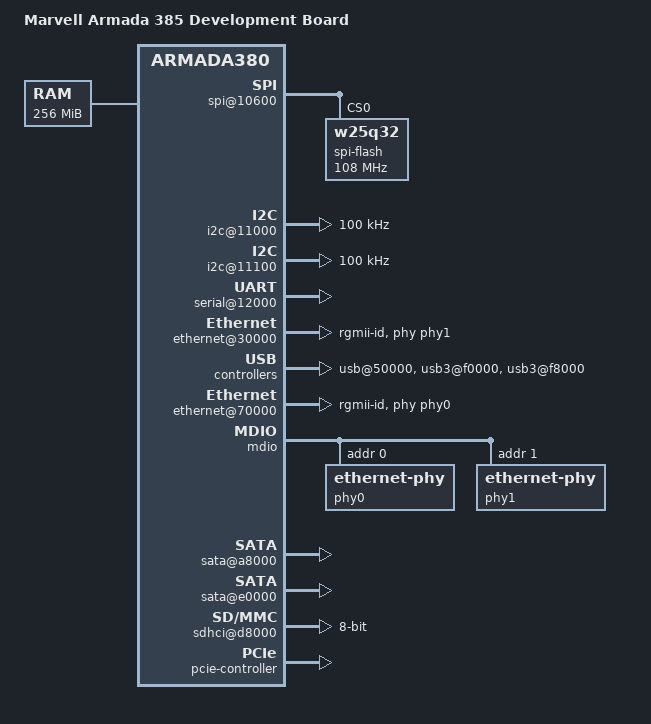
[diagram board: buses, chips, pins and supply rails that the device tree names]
/*
 * Device Tree file for Marvell Armada 385 evaluation board
 * (DB-88F6820)
 *
 *  Copyright (C) 2014 Marvell
 *
 * Thomas Petazzoni <thomas.petazzoni@free-electrons.com>
 *
 * This file is licensed under the terms of the GNU General Public
 * License version 2.  This program is licensed "as is" without any
 * warranty of any kind, whether express or implied.
 */

/dts-v1/;
#include "armada-385.dtsi"

/ {
	model = "Marvell Armada 385 Development Board";
	compatible = "marvell,a385-db", "marvell,armada385", "marvell,armada380";

	chosen {
		bootargs = "console=ttyS0,115200 earlyprintk";
	};

	memory {
		device_type = "memory";
		reg = <0x00000000 0x10000000>; /* 256 MB */
	};

	soc {
		ranges = <MBUS_ID(0xf0, 0x01) 0 0xf1000000 0x100000
			  MBUS_ID(0x01, 0x1d) 0 0xfff00000 0x100000>;

		internal-regs {
			spi@10600 {
				status = "okay";

				spi-flash@0 {
					#address-cells = <1>;
					#size-cells = <1>;
					compatible = "w25q32";
					reg = <0>; /* Chip select 0 */
					spi-max-frequency = <108000000>;
				};
			};

			i2c@11000 {
				status = "okay";
				clock-frequency = <100000>;
			};

			i2c@11100 {
				status = "okay";
				clock-frequency = <100000>;
			};

			serial@12000 {
				status = "okay";
			};

			ethernet@30000 {
				status = "okay";
				phy = <&phy1>;
				phy-mode = "rgmii-id";
			};

			usb@50000 {
				status = "ok";
			};

			ethernet@70000 {
				status = "okay";
				phy = <&phy0>;
				phy-mode = "rgmii-id";
			};

			mdio {
				phy0: ethernet-phy@0 {
					reg = <0>;
				};

				phy1: ethernet-phy@1 {
					reg = <1>;
				};
			};

			sata@a8000 {
				status = "okay";
			};

			sata@e0000 {
				status = "okay";
			};

			flash@d0000 {
				status = "okay";
				num-cs = <1>;
				marvell,nand-keep-config;
				marvell,nand-enable-arbiter;
				nand-on-flash-bbt;
				nand-ecc-strength = <4>;
				nand-ecc-step-size = <512>;

				partition@0 {
					label = "U-Boot";
					reg = <0 0x800000>;
				};
				partition@800000 {
					label = "Linux";
					reg = <0x800000 0x800000>;
				};
				partition@1000000 {
					label = "Filesystem";
					reg = <0x1000000 0x3f000000>;
				};
			};

			sdhci@d8000 {
				broken-cd;
				wp-inverted;
				bus-width = <8>;
				status = "okay";
				no-1-8-v;
			};

			usb3@f0000 {
				status = "okay";
			};

			usb3@f8000 {
				status = "okay";
			};
		};

		pcie-controller {
			status = "okay";
			/*
			 * The two PCIe units are accessible through
			 * standard PCIe slots on the board.
			 */
			pcie@1,0 {
				/* Port 0, Lane 0 */
				status = "okay";
			};
			pcie@2,0 {
				/* Port 1, Lane 0 */
				status = "okay";
			};
		};
	};
};
